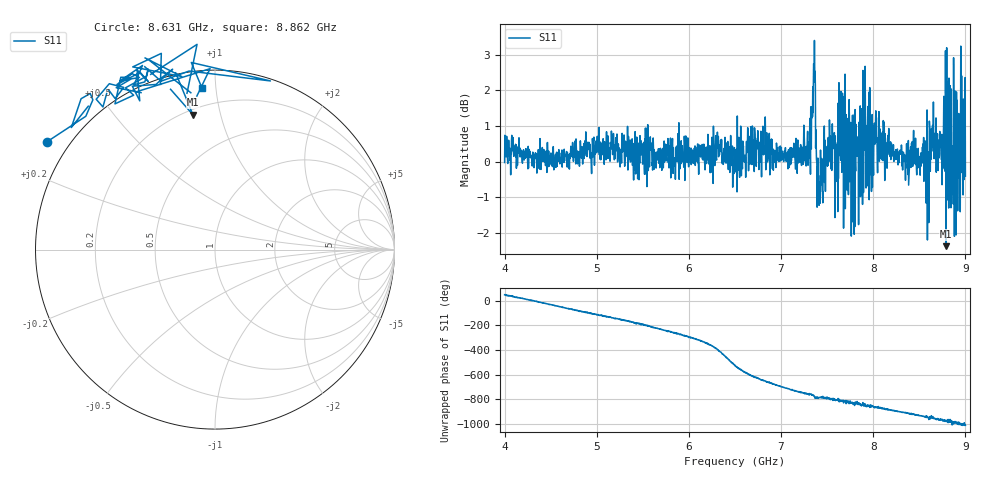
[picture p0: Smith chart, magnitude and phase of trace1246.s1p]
! Created with skrf 1.8.0 (http://scikit-rf.org).
# Hz S RI R 50.0
!freq ReS11 ImS11
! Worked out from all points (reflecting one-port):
!   1601 points, 4 GHz to 9 GHz, reference 50 ohm
!   lowest |S11| = -2.4 dB at 8.791 GHz (marker M1), VSWR 7.40, Z = 11.5 + j41.2 ohm
!   phase of S11 starts at 49 deg and turns -1061 deg over the sweep
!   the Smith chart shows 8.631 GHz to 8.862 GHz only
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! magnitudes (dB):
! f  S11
! 4 GHz  0.0
! 4.625 GHz  -0.1
! 5.25 GHz  -0.1
! 5.875 GHz  0.2
! 6.331 GHz  0.2
! 6.5 GHz  -0.2
! 6.806 GHz  0.4
! 7.125 GHz  0.2
! 7.294 GHz  -0.1
! 7.347 GHz  1.4
! 7.369 GHz  2.5
! 7.4 GHz  0.1
! 7.412 GHz  -1.2
! 7.512 GHz  0.7
! 7.6 GHz  -0.5
! 7.65 GHz  2.0
! 7.75 GHz  0.4
! 7.784 GHz  0.1
! 7.894 GHz  -0.9
! 7.981 GHz  -0.8
! 8.375 GHz  0.0
! 8.544 GHz  0.2
! 8.581 GHz  0.1
! 8.634 GHz  0.3
! 8.791 GHz  -2.4
! 8.875 GHz  0.6
! 8.972 GHz  0.5
! 9 GHz  -0.4
